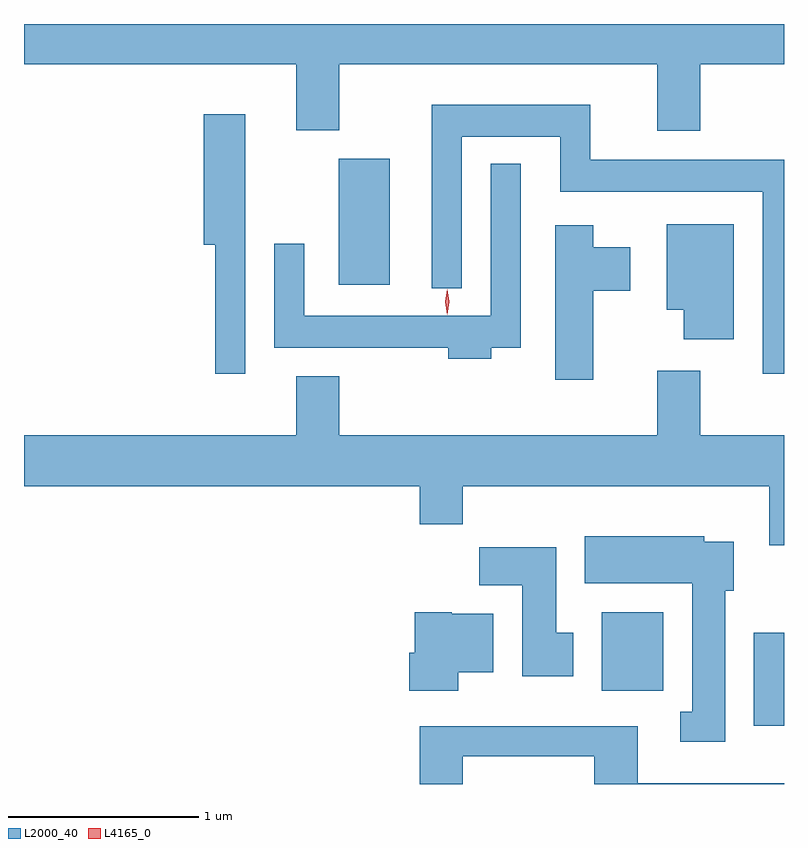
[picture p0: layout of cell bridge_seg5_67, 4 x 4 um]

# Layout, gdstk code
import gdstk
lib = gdstk.Library(unit=1e-6, precision=1e-09)
def R(c, l, rs):  # rectangles x0, y0, x1, y1
    for r in rs: c.add(gdstk.rectangle(r[:2], r[2:], *l))
def P(c, l, *ps):  # polygons
    for p in ps: c.add(gdstk.Polygon(p, *l))
L2000_40 = (2000, 40)
L4165_0 = (4165, 0)

bridge_seg5_67 = lib.new_cell('bridge_seg5_67')
R(bridge_seg5_67, L2000_40, [(1291.561,1471.076,1291.719,1471.564), (1290.761,1471.261,1291.084,1471.674), (1289.376,1473.396,1289.644,1474.059)])
P(bridge_seg5_67, L2000_40, [(1291.279,1474.556),(1291.719,1474.556),(1291.719,1474.769),(1287.719,1474.769),(1287.719,1474.556),(1289.151,1474.556),(1289.151,1474.211),(1289.379,1474.211),(1289.379,1474.556),(1291.051,1474.556),(1291.051,1474.206),(1291.279,1474.206)],
  [(1291.719,1474.054),(1290.699,1474.054),(1290.699,1474.344),(1289.866,1474.344),(1289.866,1473.378),(1290.024,1473.378),(1290.024,1474.176),(1290.541,1474.176),(1290.541,1473.886),(1291.606,1473.886),(1291.606,1472.928),(1291.719,1472.928)],
  [(1288.884,1474.294),(1288.666,1474.294),(1288.666,1473.606),(1288.726,1473.606),(1288.726,1472.928),(1288.884,1472.928)],
  [(1290.179,1473.066),(1290.334,1473.066),(1290.334,1474.033),(1290.176,1474.033),(1290.176,1473.234),(1289.194,1473.234),(1289.194,1473.613),(1289.036,1473.613),(1289.036,1473.066),(1289.951,1473.066),(1289.951,1473.006),(1290.179,1473.006)],
  [(1291.454,1473.714),(1291.101,1473.714),(1291.101,1473.266),(1291.191,1473.266),(1291.191,1473.111),(1291.454,1473.111)],
  [(1290.714,1473.366),(1290.909,1473.366),(1290.909,1473.594),(1290.714,1473.594),(1290.714,1473.709),(1290.516,1473.709),(1290.516,1472.896),(1290.714,1472.896)],
  [(1291.719,1472.604),(1291.279,1472.604),(1291.279,1472.944),(1291.051,1472.944),(1291.051,1472.604),(1289.379,1472.604),(1289.379,1472.914),(1289.151,1472.914),(1289.151,1472.604),(1287.719,1472.604),(1287.719,1472.336),(1289.801,1472.336),(1289.801,1472.136),(1290.029,1472.136),(1290.029,1472.336),(1291.641,1472.336),(1291.641,1472.026),(1291.719,1472.026)],
  [(1291.409,1471.786),(1291.454,1471.786),(1291.454,1472.044),(1291.299,1472.044),(1291.299,1472.074),(1290.671,1472.074),(1290.671,1471.826),(1291.236,1471.826),(1291.236,1471.149),(1291.173,1471.149),(1291.173,1470.991),(1291.409,1470.991)],
  [(1290.609,1471.564),(1290.519,1471.564),(1290.519,1472.014),(1290.116,1472.014),(1290.116,1471.816),(1290.341,1471.816),(1290.341,1471.336),(1290.609,1471.336)],
  [(1290.004,1471.356),(1290.189,1471.356),(1290.189,1471.664),(1289.97,1471.664),(1289.97,1471.674),(1289.776,1471.674),(1289.776,1471.459),(1289.746,1471.459),(1289.746,1471.261),(1290.004,1471.261)],
  [(1290.029,1470.916),(1290.721,1470.916),(1290.721,1470.769),(1291.719,1470.769),(1291.719,1470.774),(1290.949,1470.774),(1290.949,1471.074),(1289.801,1471.074),(1289.801,1470.769),(1290.029,1470.769)])
P(bridge_seg5_67, L4165_0, [(1289.946,1473.24),(1289.936,1473.306),(1289.946,1473.372),(1289.946,1473.373),(1289.947,1473.372),(1289.956,1473.306),(1289.947,1473.24),(1289.947,1473.24)])

lib.write_gds('bridge_seg5_67.gds')
